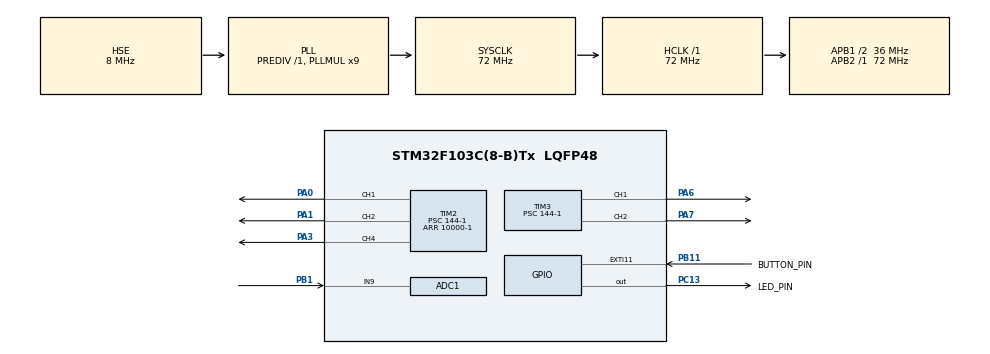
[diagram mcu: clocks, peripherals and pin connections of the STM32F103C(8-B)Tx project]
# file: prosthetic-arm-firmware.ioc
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ADC1.Channel-0\#ChannelRegularConversion=ADC_CHANNEL_9
ADC1.ContinuousConvMode=DISABLE
ADC1.NbrOfConversion=1
ADC1.NbrOfConversionFlag=1
ADC1.Rank-0\#ChannelRegularConversion=1
ADC1.SamplingTime-0\#ChannelRegularConversion=ADC_SAMPLETIME_7CYCLES_5
ADC1.master=1
Dma.ADC1.0.Direction=DMA_PERIPH_TO_MEMORY
Dma.ADC1.0.Instance=DMA1_Channel1
Dma.ADC1.0.MemDataAlignment=DMA_MDATAALIGN_HALFWORD
Dma.ADC1.0.MemInc=DMA_MINC_ENABLE
Dma.ADC1.0.Mode=DMA_NORMAL
Dma.ADC1.0.PeriphDataAlignment=DMA_PDATAALIGN_HALFWORD
Dma.ADC1.0.PeriphInc=DMA_PINC_DISABLE
Dma.ADC1.0.Priority=DMA_PRIORITY_LOW
Dma.Request0=ADC1
Mcu.Family=STM32F1
Mcu.Name=STM32F103C(8-B)Tx
Mcu.Package=LQFP48
NVIC.DMA1_Channel1_IRQn=true\:0\:0\:false\:false\:true\:false\:true\:true
NVIC.EXTI15_10_IRQn=true\:0\:0\:false\:false\:true\:true\:true\:true
NVIC.PriorityGroup=NVIC_PRIORITYGROUP_4
NVIC.TIM4_IRQn=true\:0\:0\:false\:false\:true\:true\:true\:true
PA0-WKUP.Signal=S_TIM2_CH1_ETR
PA1.Signal=S_TIM2_CH2
PA13.Mode=Serial_Wire
PA13.Signal=SYS_JTMS-SWDIO
PA14.Mode=Serial_Wire
PA14.Signal=SYS_JTCK-SWCLK
PA3.Signal=S_TIM2_CH4
PA6.Signal=S_TIM3_CH1
PA7.Signal=S_TIM3_CH2
PB1.Signal=ADCx_IN9
PB11.GPIO_Label=BUTTON_PIN
PB11.GPIO_ModeDefaultEXTI=GPIO_MODE_IT_FALLING
PB11.GPIO_PuPd=GPIO_PULLUP
PB11.Signal=GPXTI11
PC13-TAMPER-RTC.GPIO_Label=LED_PIN
PC13-TAMPER-RTC.Signal=GPIO_Output
PD0-OSC_IN.Mode=HSE-External-Oscillator
PD0-OSC_IN.Signal=RCC_OSC_IN
PD1-OSC_OUT.Mode=HSE-External-Oscillator
PD1-OSC_OUT.Signal=RCC_OSC_OUT
ProjectManager.HeapSize=0x200
ProjectManager.StackSize=0x400
ProjectManager.TargetToolchain=STM32CubeIDE
RCC.ADCPresc=RCC_ADCPCLK2_DIV8
RCC.AHBFreq_Value=72000000
RCC.APB1CLKDivider=RCC_HCLK_DIV2
RCC.APB1Freq_Value=36000000
RCC.APB1TimFreq_Value=72000000
RCC.APB2Freq_Value=72000000
RCC.APB2TimFreq_Value=72000000
RCC.HCLKFreq_Value=72000000
RCC.PLLMUL=RCC_PLL_MUL9
RCC.PLLSourceVirtual=RCC_PLLSOURCE_HSE
RCC.SYSCLKFreq_VALUE=72000000
RCC.SYSCLKSource=RCC_SYSCLKSOURCE_PLLCLK
RCC.USBFreq_Value=72000000
SH.ADCx_IN9.0=ADC1_IN9,IN9
SH.S_TIM2_CH1_ETR.0=TIM2_CH1,PWM Generation1 CH1
SH.S_TIM2_CH2.0=TIM2_CH2,PWM Generation2 CH2
SH.S_TIM2_CH4.0=TIM2_CH4,PWM Generation4 CH4
SH.S_TIM3_CH1.0=TIM3_CH1,PWM Generation1 CH1
SH.S_TIM3_CH2.0=TIM3_CH2,PWM Generation2 CH2
TIM2.Channel-PWM\ Generation1\ CH1=TIM_CHANNEL_1
TIM2.Channel-PWM\ Generation2\ CH2=TIM_CHANNEL_2
TIM2.Channel-PWM\ Generation4\ CH4=TIM_CHANNEL_4
TIM2.Period=10000-1
TIM2.Prescaler=144-1
TIM3.Channel-PWM\ Generation1\ CH1=TIM_CHANNEL_1
TIM3.Channel-PWM\ Generation2\ CH2=TIM_CHANNEL_2
TIM3.Period=10000-1
TIM3.Prescaler=144-1
TIM4.Period=10-1
TIM4.Prescaler=7200-1
VP_TIM2_VS_ClockSourceINT.Mode=Internal
VP_TIM3_VS_ClockSourceINT.Mode=Internal
VP_TIM4_VS_ClockSourceINT.Mode=Internal
board=custom

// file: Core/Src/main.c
/* USER CODE BEGIN Header */
/**
  ******************************************************************************
  * @file           : main.c
  * @brief          : Main program body
  ******************************************************************************
  * @attention
  *
  * Copyright (c) 2024 STMicroelectronics.
  * All rights reserved.
  *
  * This software is licensed under terms that can be found in the LICENSE file
  * in the root directory of this software component.
  * If no LICENSE file comes with this software, it is provided AS-IS.
  *
  ******************************************************************************
  */
/* USER CODE END Header */
#include "main.h"

/* USER CODE BEGIN Includes */

#include "math.h"

/* USER CODE END Includes */

/* USER CODE BEGIN PD */

#define MIN_DUTY_CICLE 250
#define MAX_DUTY_CICLE 1200
#define POSTURES 10
#define RMS_WINDOW_SIZE 250
#define VMIN 500.0 // Defines the minimum RMS value considered to be a muscular activity.

/* USER CODE END PD */

ADC_HandleTypeDef hadc1;
DMA_HandleTypeDef hdma_adc1;

TIM_HandleTypeDef htim2;
TIM_HandleTypeDef htim3;
TIM_HandleTypeDef htim4;

/* USER CODE BEGIN PV */

uint16_t duty_cycle = 250;
uint32_t adc_result[RMS_WINDOW_SIZE];
float rms_value = 0.0;
uint8_t mode = 1;
uint8_t rms_index = 0;
uint32_t finger_position[] = {0,0,0,0,0};

uint8_t button_pressed = 0;
uint8_t start_conversion = 0;
uint8_t finished_conversion = 0;
/* USER CODE END PV */

void SystemClock_Config(void);
static void MX_GPIO_Init(void);
static void MX_DMA_Init(void);
static void MX_TIM2_Init(void);
static void MX_ADC1_Init(void);
static void MX_TIM3_Init(void);
static void MX_TIM4_Init(void);

/* USER CODE BEGIN 0 */
void generate_fingers_positions(uint32_t *finger_position, uint8_t mode)
{
	switch(mode){
	case 1:
		finger_position[0] = MIN_DUTY_CICLE;
		finger_position[1] = MIN_DUTY_CICLE;
		finger_position[2] = MIN_DUTY_CICLE;
		finger_position[3] = MIN_DUTY_CICLE;
		finger_position[4] = MIN_DUTY_CICLE;
		break;
	case 2:
		finger_position[0] = MAX_DUTY_CICLE;
		finger_position[1] = MAX_DUTY_CICLE;
		finger_position[2] = MAX_DUTY_CICLE;
		finger_position[3] = MAX_DUTY_CICLE;
		finger_position[4] = MAX_DUTY_CICLE;
		break;
	case 3:
		finger_position[0] = MAX_DUTY_CICLE;
		finger_position[1] = MAX_DUTY_CICLE;
		finger_position[2] = MIN_DUTY_CICLE;
		finger_position[3] = MIN_DUTY_CICLE;
		finger_position[4] = MIN_DUTY_CICLE;
		break;
	case 4:
		finger_position[0] = MAX_DUTY_CICLE;
		finger_position[1] = MIN_DUTY_CICLE;
		finger_position[2] = MIN_DUTY_CICLE;
		finger_position[3] = MIN_DUTY_CICLE;
		finger_position[4] = MIN_DUTY_CICLE;
		break;
	case 5:
		finger_position[0] = MIN_DUTY_CICLE;
		finger_position[1] = MIN_DUTY_CICLE;
		finger_position[2] = MAX_DUTY_CICLE;
		finger_position[3] = MAX_DUTY_CICLE;
		finger_position[4] = MAX_DUTY_CICLE;
		break;
	case 6:
		finger_position[0] = MIN_DUTY_CICLE;
		finger_position[1] = MAX_DUTY_CICLE;
		finger_position[2] = MAX_DUTY_CICLE;
		finger_position[3] = MAX_DUTY_CICLE;
		finger_position[4] = MAX_DUTY_CICLE;
		break;
	case 7:
		finger_position[0] = MAX_DUTY_CICLE;
		finger_position[1] = MIN_DUTY_CICLE;
		finger_position[2] = MAX_DUTY_CICLE;
		finger_position[3] = MAX_DUTY_CICLE;
		finger_position[4] = MAX_DUTY_CICLE;
		break;
	case 8:
		finger_position[0] = MAX_DUTY_CICLE;
		finger_position[1] = MIN_DUTY_CICLE;
		finger_position[2] = MIN_DUTY_CICLE;
		finger_position[3] = MAX_DUTY_CICLE;
		finger_position[4] = MAX_DUTY_CICLE;
		break;
	case 9:
		finger_position[0] = MAX_DUTY_CICLE;
		finger_position[1] = MAX_DUTY_CICLE;
		finger_position[2] = MAX_DUTY_CICLE;
		finger_position[3] = MIN_DUTY_CICLE;
		finger_position[4] = MIN_DUTY_CICLE;
		break;
	case 10:
		finger_position[0] = MAX_DUTY_CICLE;
		finger_position[1] = MIN_DUTY_CICLE;
		finger_position[2] = MAX_DUTY_CICLE;
		finger_position[3] = MAX_DUTY_CICLE;
		finger_position[4] = MIN_DUTY_CICLE;
		break;
	}
}

float rms(uint32_t signal[], int size)
{
	float integral = 0;
	float rms = 0;

	int i;
	for(i=0; i<size; i++)
	{
		integral += (signal[i] * signal[i]);
	}

	integral = integral / size;
	rms = sqrt(integral);

	return rms;
}

/* USER CODE END 0 */

int main(void)
{

  /* MCU Configuration--------------------------------------------------------*/

  /* Reset of all peripherals, Initializes the Flash interface and the Systick. */
  HAL_Init();

  /* Configure the system clock */
  SystemClock_Config();

  /* Initialize all configured peripherals */
  MX_GPIO_Init();
  MX_DMA_Init();
  MX_TIM2_Init();
  MX_ADC1_Init();
  MX_TIM3_Init();
  MX_TIM4_Init();
  /* USER CODE BEGIN 2 */

  // Start all 5 PWM signals generation
  HAL_TIM_PWM_Start(&htim2, TIM_CHANNEL_1);
  HAL_TIM_PWM_Start(&htim2, TIM_CHANNEL_2);
  HAL_TIM_PWM_Start(&htim2, TIM_CHANNEL_4);
  HAL_TIM_PWM_Start(&htim3, TIM_CHANNEL_1);
  HAL_TIM_PWM_Start(&htim3, TIM_CHANNEL_2);
  // Calibrate The ADC On Power-Up For Better Accuracy
  HAL_ADCEx_Calibration_Start(&hadc1);
  // Start TIM4 interruption for sampling rate control
  HAL_TIM_Base_Start_IT(&htim4);

  generate_fingers_positions(finger_position, mode);

  /* USER CODE END 2 */

  /* Infinite loop */
  while (1)
  {

    /* USER CODE BEGIN 3 */

	  if(button_pressed > 0){
		  button_pressed = 0;

		  if(mode == POSTURES){
			  mode = 1;
		  } else{
			  mode++;
		  }
		  generate_fingers_positions(finger_position, mode);
	  }

	  if(start_conversion > 0){
		  start_conversion = 0;

		  HAL_ADC_Start_DMA(&hadc1, adc_result+rms_index, 1);
	  }

	  if(finished_conversion > 0){
		  finished_conversion = 0;

		  rms_value = rms(adc_result, RMS_WINDOW_SIZE);
	  }

	  if(rms_value > VMIN){
		  TIM2->CCR1=finger_position[0];
		  TIM2->CCR2=finger_position[1];
		  TIM2->CCR4=finger_position[2];
		  TIM3->CCR1=finger_position[3];
		  TIM3->CCR2=finger_position[4];
	  }
	  else {
		  TIM2->CCR1=MIN_DUTY_CICLE;
		  TIM2->CCR2=MIN_DUTY_CICLE;
		  TIM2->CCR4=MIN_DUTY_CICLE;
		  TIM3->CCR1=MIN_DUTY_CICLE;
		  TIM3->CCR2=MIN_DUTY_CICLE;
	  }

  }
  /* USER CODE END 3 */
}

void SystemClock_Config(void)
{
  RCC_OscInitTypeDef RCC_OscInitStruct = {0};
  RCC_ClkInitTypeDef RCC_ClkInitStruct = {0};
  RCC_PeriphCLKInitTypeDef PeriphClkInit = {0};

  /** Initializes the RCC Oscillators according to the specified parameters
  * in the RCC_OscInitTypeDef structure.
  */
  RCC_OscInitStruct.OscillatorType = RCC_OSCILLATORTYPE_HSE;
  RCC_OscInitStruct.HSEState = RCC_HSE_ON;
  RCC_OscInitStruct.HSEPredivValue = RCC_HSE_PREDIV_DIV1;
  RCC_OscInitStruct.HSIState = RCC_HSI_ON;
  RCC_OscInitStruct.PLL.PLLState = RCC_PLL_ON;
  RCC_OscInitStruct.PLL.PLLSource = RCC_PLLSOURCE_HSE;
  RCC_OscInitStruct.PLL.PLLMUL = RCC_PLL_MUL9;
  if (HAL_RCC_OscConfig(&RCC_OscInitStruct) != HAL_OK)
  {
    Error_Handler();
  }

  /** Initializes the CPU, AHB and APB buses clocks
  */
  RCC_ClkInitStruct.ClockType = RCC_CLOCKTYPE_HCLK|RCC_CLOCKTYPE_SYSCLK
                              |RCC_CLOCKTYPE_PCLK1|RCC_CLOCKTYPE_PCLK2;
  RCC_ClkInitStruct.SYSCLKSource = RCC_SYSCLKSOURCE_PLLCLK;
  RCC_ClkInitStruct.AHBCLKDivider = RCC_SYSCLK_DIV1;
  RCC_ClkInitStruct.APB1CLKDivider = RCC_HCLK_DIV2;
  RCC_ClkInitStruct.APB2CLKDivider = RCC_HCLK_DIV1;

  if (HAL_RCC_ClockConfig(&RCC_ClkInitStruct, FLASH_LATENCY_2) != HAL_OK)
  {
    Error_Handler();
  }
  PeriphClkInit.PeriphClockSelection = RCC_PERIPHCLK_ADC;
  PeriphClkInit.AdcClockSelection = RCC_ADCPCLK2_DIV8;
  if (HAL_RCCEx_PeriphCLKConfig(&PeriphClkInit) != HAL_OK)
  {
    Error_Handler();
  }
}

static void MX_ADC1_Init(void)
{

  ADC_ChannelConfTypeDef sConfig = {0};

  /** Common config
  */
  hadc1.Instance = ADC1;
  hadc1.Init.ScanConvMode = ADC_SCAN_DISABLE;
  hadc1.Init.ContinuousConvMode = DISABLE;
  hadc1.Init.DiscontinuousConvMode = DISABLE;
  hadc1.Init.ExternalTrigConv = ADC_SOFTWARE_START;
  hadc1.Init.DataAlign = ADC_DATAALIGN_RIGHT;
  hadc1.Init.NbrOfConversion = 1;
  if (HAL_ADC_Init(&hadc1) != HAL_OK)
  {
    Error_Handler();
  }

  /** Configure Regular Channel
  */
  sConfig.Channel = ADC_CHANNEL_9;
  sConfig.Rank = ADC_REGULAR_RANK_1;
  sConfig.SamplingTime = ADC_SAMPLETIME_7CYCLES_5;
  if (HAL_ADC_ConfigChannel(&hadc1, &sConfig) != HAL_OK)
  {
    Error_Handler();
  }

}

static void MX_TIM2_Init(void)
{

  TIM_ClockConfigTypeDef sClockSourceConfig = {0};
  TIM_MasterConfigTypeDef sMasterConfig = {0};
  TIM_OC_InitTypeDef sConfigOC = {0};

  htim2.Instance = TIM2;
  htim2.Init.Prescaler = 144-1;
  htim2.Init.CounterMode = TIM_COUNTERMODE_UP;
  htim2.Init.Period = 10000-1;
  htim2.Init.ClockDivision = TIM_CLOCKDIVISION_DIV1;
  htim2.Init.AutoReloadPreload = TIM_AUTORELOAD_PRELOAD_DISABLE;
  if (HAL_TIM_Base_Init(&htim2) != HAL_OK)
  {
    Error_Handler();
  }
  sClockSourceConfig.ClockSource = TIM_CLOCKSOURCE_INTERNAL;
  if (HAL_TIM_ConfigClockSource(&htim2, &sClockSourceConfig) != HAL_OK)
  {
    Error_Handler();
  }
  if (HAL_TIM_PWM_Init(&htim2) != HAL_OK)
  {
    Error_Handler();
  }
  sMasterConfig.MasterOutputTrigger = TIM_TRGO_RESET;
  sMasterConfig.MasterSlaveMode = TIM_MASTERSLAVEMODE_DISABLE;
  if (HAL_TIMEx_MasterConfigSynchronization(&htim2, &sMasterConfig) != HAL_OK)
  {
    Error_Handler();
  }
  sConfigOC.OCMode = TIM_OCMODE_PWM1;
  sConfigOC.Pulse = 0;
  sConfigOC.OCPolarity = TIM_OCPOLARITY_HIGH;
  sConfigOC.OCFastMode = TIM_OCFAST_DISABLE;
  if (HAL_TIM_PWM_ConfigChannel(&htim2, &sConfigOC, TIM_CHANNEL_1) != HAL_OK)
  {
    Error_Handler();
  }
  if (HAL_TIM_PWM_ConfigChannel(&htim2, &sConfigOC, TIM_CHANNEL_2) != HAL_OK)
  {
    Error_Handler();
  }
  if (HAL_TIM_PWM_ConfigChannel(&htim2, &sConfigOC, TIM_CHANNEL_4) != HAL_OK)
  {
    Error_Handler();
  }
  HAL_TIM_MspPostInit(&htim2);

}

static void MX_TIM3_Init(void)
{

  TIM_ClockConfigTypeDef sClockSourceConfig = {0};
  TIM_MasterConfigTypeDef sMasterConfig = {0};
  TIM_OC_InitTypeDef sConfigOC = {0};

  htim3.Instance = TIM3;
  htim3.Init.Prescaler = 144-1;
  htim3.Init.CounterMode = TIM_COUNTERMODE_UP;
  htim3.Init.Period = 10000-1;
  htim3.Init.ClockDivision = TIM_CLOCKDIVISION_DIV1;
  htim3.Init.AutoReloadPreload = TIM_AUTORELOAD_PRELOAD_DISABLE;
  if (HAL_TIM_Base_Init(&htim3) != HAL_OK)
  {
    Error_Handler();
  }
  sClockSourceConfig.ClockSource = TIM_CLOCKSOURCE_INTERNAL;
  if (HAL_TIM_ConfigClockSource(&htim3, &sClockSourceConfig) != HAL_OK)
  {
    Error_Handler();
  }
  if (HAL_TIM_PWM_Init(&htim3) != HAL_OK)
  {
    Error_Handler();
  }
  sMasterConfig.MasterOutputTrigger = TIM_TRGO_RESET;
  sMasterConfig.MasterSlaveMode = TIM_MASTERSLAVEMODE_DISABLE;
  if (HAL_TIMEx_MasterConfigSynchronization(&htim3, &sMasterConfig) != HAL_OK)
  {
    Error_Handler();
  }
  sConfigOC.OCMode = TIM_OCMODE_PWM1;
  sConfigOC.Pulse = 0;
  sConfigOC.OCPolarity = TIM_OCPOLARITY_HIGH;
  sConfigOC.OCFastMode = TIM_OCFAST_DISABLE;
  if (HAL_TIM_PWM_ConfigChannel(&htim3, &sConfigOC, TIM_CHANNEL_1) != HAL_OK)
  {
    Error_Handler();
  }
  if (HAL_TIM_PWM_ConfigChannel(&htim3, &sConfigOC, TIM_CHANNEL_2) != HAL_OK)
  {
    Error_Handler();
  }
  HAL_TIM_MspPostInit(&htim3);

}

static void MX_TIM4_Init(void)
{

  TIM_ClockConfigTypeDef sClockSourceConfig = {0};
  TIM_MasterConfigTypeDef sMasterConfig = {0};

  htim4.Instance = TIM4;
  htim4.Init.Prescaler = 7200-1;
  htim4.Init.CounterMode = TIM_COUNTERMODE_UP;
  htim4.Init.Period = 10-1;
  htim4.Init.ClockDivision = TIM_CLOCKDIVISION_DIV1;
  htim4.Init.AutoReloadPreload = TIM_AUTORELOAD_PRELOAD_DISABLE;
  if (HAL_TIM_Base_Init(&htim4) != HAL_OK)
  {
    Error_Handler();
  }
  sClockSourceConfig.ClockSource = TIM_CLOCKSOURCE_INTERNAL;
  if (HAL_TIM_ConfigClockSource(&htim4, &sClockSourceConfig) != HAL_OK)
  {
    Error_Handler();
  }
  sMasterConfig.MasterOutputTrigger = TIM_TRGO_RESET;
  sMasterConfig.MasterSlaveMode = TIM_MASTERSLAVEMODE_DISABLE;
  if (HAL_TIMEx_MasterConfigSynchronization(&htim4, &sMasterConfig) != HAL_OK)
  {
    Error_Handler();
  }

}

static void MX_DMA_Init(void)
{

  /* DMA controller clock enable */
  __HAL_RCC_DMA1_CLK_ENABLE();

  /* DMA interrupt init */
  /* DMA1_Channel1_IRQn interrupt configuration */
  HAL_NVIC_SetPriority(DMA1_Channel1_IRQn, 0, 0);
  HAL_NVIC_EnableIRQ(DMA1_Channel1_IRQn);

}

static void MX_GPIO_Init(void)
{
  GPIO_InitTypeDef GPIO_InitStruct = {0};

  /* GPIO Ports Clock Enable */
  __HAL_RCC_GPIOC_CLK_ENABLE();
  __HAL_RCC_GPIOD_CLK_ENABLE();
  __HAL_RCC_GPIOA_CLK_ENABLE();
  __HAL_RCC_GPIOB_CLK_ENABLE();

  /*Configure GPIO pin Output Level */
  HAL_GPIO_WritePin(LED_PIN_GPIO_Port, LED_PIN_Pin, GPIO_PIN_RESET);

  /*Configure GPIO pin : LED_PIN_Pin */
  GPIO_InitStruct.Pin = LED_PIN_Pin;
  GPIO_InitStruct.Mode = GPIO_MODE_OUTPUT_PP;
  GPIO_InitStruct.Pull = GPIO_NOPULL;
  GPIO_InitStruct.Speed = GPIO_SPEED_FREQ_LOW;
  HAL_GPIO_Init(LED_PIN_GPIO_Port, &GPIO_InitStruct);

  /*Configure GPIO pin : BUTTON_PIN_Pin */
  GPIO_InitStruct.Pin = BUTTON_PIN_Pin;
  GPIO_InitStruct.Mode = GPIO_MODE_IT_FALLING;
  GPIO_InitStruct.Pull = GPIO_PULLUP;
  HAL_GPIO_Init(BUTTON_PIN_GPIO_Port, &GPIO_InitStruct);

  /* EXTI interrupt init*/
  HAL_NVIC_SetPriority(EXTI15_10_IRQn, 0, 0);
  HAL_NVIC_EnableIRQ(EXTI15_10_IRQn);

}

/* USER CODE BEGIN 4 */

void HAL_ADC_ConvCpltCallback(ADC_HandleTypeDef* hadc)
{
	if(rms_index >= RMS_WINDOW_SIZE){
		rms_index = 0;
		finished_conversion++;
	} else{
		rms_index++;
	}
}

void HAL_GPIO_EXTI_Callback(uint16_t GPIO_Pin)
{
	if(GPIO_Pin == BUTTON_PIN_Pin){
		button_pressed++;
	}
}

// Timer configured to generate IT at 1kHz frequency
void HAL_TIM_PeriodElapsedCallback(TIM_HandleTypeDef* htim)
{
	if(htim == &htim4){
		start_conversion++;
	}
}

/* USER CODE END 4 */

void Error_Handler(void)
{
  __disable_irq();
  while (1)
  {
  }
}
